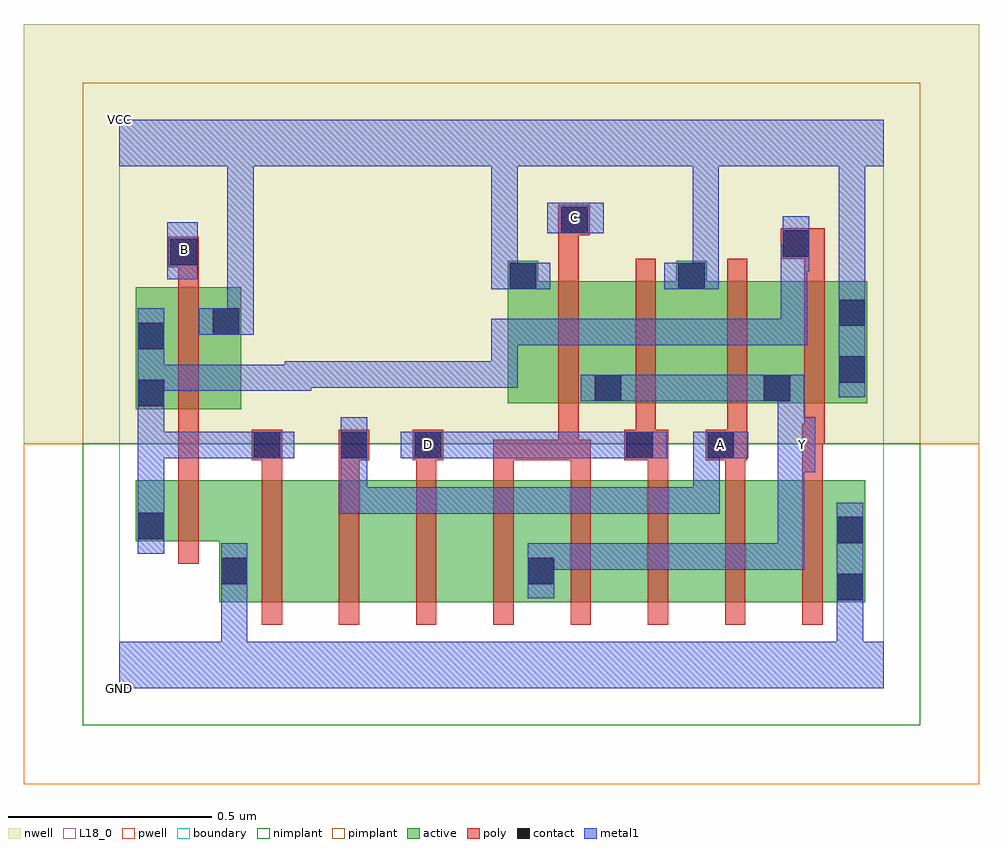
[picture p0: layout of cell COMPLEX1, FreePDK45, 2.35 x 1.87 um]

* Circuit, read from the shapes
.subckt COMPLEX1 A B C D GND VCC Y
M1 GND B n1 VSUBS nfet w=0.15u l=0.05u
M2 n2 n1 GND VSUBS nfet w=0.3u l=0.05u
M3 n3 A n2 VSUBS nfet w=0.3u l=0.05u
M4 n4 D n3 VSUBS nfet w=0.3u l=0.05u
M5 Y C n4 VSUBS nfet w=0.3u l=0.05u
M6 n5 C Y VSUBS nfet w=0.3u l=0.05u
M7 n6 D n5 VSUBS nfet w=0.3u l=0.05u
M8 n7 A n6 VSUBS nfet w=0.3u l=0.05u
M9 GND n1 n7 VSUBS nfet w=0.3u l=0.05u
M10 VCC B n1 n8 pfet w=0.3u l=0.05u
M11 Y C VCC n8 pfet w=0.3u l=0.05u
M12 VCC D Y n8 pfet w=0.3u l=0.05u
M13 Y A VCC n8 pfet w=0.3u l=0.05u
M14 VCC n1 Y n8 pfet w=0.3u l=0.05u
.ends

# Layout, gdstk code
import gdstk
lib = gdstk.Library(unit=1e-6, precision=1e-09)
def R(c, l, rs):  # rectangles x0, y0, x1, y1
    for r in rs: c.add(gdstk.rectangle(r[:2], r[2:], *l))
def A(c, l, x, y, w, h, nx, ny, dx, dy):  # array of equal rectangles
    R(c, l, [(x+i*dx, y+j*dy, x+i*dx+w, y+j*dy+h) for i in range(nx) for j in range(ny)])
active = (1, 0)
pwell = (2, 0)
nwell = (3, 0)
nimplant = (4, 0)
pimplant = (5, 0)
poly = (9, 0)
contact = (10, 0)
metal1 = (11, 0)
L18_0 = (18, 0)
boundary = (235, 0)

complex1 = lib.new_cell('COMPLEX1')
R(complex1, active, [(0.245,0.212,0.47,0.512), (0.47,0.212,0.66,0.512), (0.66,0.212,0.85,0.512), (0.85,0.212,1.075,0.512), (1,0.212,1.23,0.512), (1,0.212,1.075,0.435), (1.23,0.212,1.42,0.512), (1.42,0.212,1.61,0.512), (1.61,0.212,1.835,0.512), (1.76,0.212,1.835,0.512), (0.245,0.252,0.32,0.46), (0.04,0.362,0.32,0.512), (0.04,0.362,0.115,0.512), (0.04,0.687,0.3,0.987), (0.04,0.687,0.115,0.957), (0.225,0.687,0.3,0.957), (0.955,0.702,1.24,1.002), (1.165,0.702,1.445,1.002), (1.165,0.702,1.24,0.937), (1.37,0.702,1.655,1.002), (1.58,0.702,1.84,1.002), (1.58,0.702,1.655,0.96), (1.765,0.702,1.84,1.002), (0.955,0.72,1.03,1.052), (1.37,0.85,1.445,1.052)])
R(complex1, pwell, [(-0.235,-0.235,2.115,0.602)])
R(complex1, nwell, [(-0.235,0.602,2.115,1.635)])
R(complex1, nimplant, [(-0.09,-0.09,1.97,0.602)])
R(complex1, pimplant, [(-0.09,0.602,1.97,1.49)])
A(complex1, poly, 0.35, 0.157, 0.05, 0.41, 8, 1, 0.19, 0)
A(complex1, poly, 0.35, 0.517, 0.05, 0.095, 7, 1, 0.19, 0)
R(complex1, poly, [(0.145,0.307,0.195,0.567), (0.145,0.517,0.195,0.612), (1.68,0.517,1.73,0.652), (0.145,0.562,0.195,0.612), (0.145,0.562,0.195,0.682), (0.325,0.562,0.4,0.637), (0.54,0.562,0.615,0.637), (0.722,0.562,0.797,0.637), (0.92,0.562,1.13,0.612), (0.92,0.562,0.97,0.612), (0.92,0.562,0.97,0.612), (0.92,0.562,0.97,0.612), (1.08,0.562,1.13,0.697), (1.08,0.562,1.16,0.612), (1.242,0.562,1.35,0.637), (1.442,0.562,1.545,0.637), (1.27,0.587,1.32,0.697), (1.495,0.587,1.545,0.697), (1.68,0.602,1.735,0.652), (1.685,0.602,1.735,0.697), (0.145,0.632,0.195,1.042), (1.08,0.647,1.13,1.057), (1.27,0.647,1.32,1.057), (1.495,0.647,1.545,1.057), (1.685,0.647,1.735,1.057), (0.145,0.992,0.195,1.087), (1.08,1.007,1.13,1.165), (1.685,1.007,1.735,1.107), (0.12,1.037,0.195,1.112), (1.627,1.057,1.735,1.132), (1.08,1.115,1.157,1.19)])
R(complex1, contact, [(1.765,0.217,1.83,0.282), (0.25,0.257,0.315,0.322), (1.005,0.257,1.07,0.322), (1.765,0.357,1.83,0.422), (0.045,0.367,0.11,0.432), (0.33,0.567,0.395,0.632), (0.545,0.567,0.61,0.632), (0.727,0.567,0.792,0.632), (1.247,0.567,1.312,0.632), (1.447,0.567,1.512,0.632), (0.045,0.695,0.11,0.76), (1.17,0.707,1.235,0.772), (1.585,0.707,1.65,0.772), (1.77,0.752,1.835,0.817), (0.045,0.835,0.11,0.9), (0.23,0.87,0.295,0.935), (1.77,0.892,1.835,0.957), (0.96,0.982,1.025,1.047), (1.375,0.982,1.44,1.047), (0.125,1.042,0.19,1.107), (1.632,1.062,1.697,1.127), (1.087,1.12,1.152,1.185)])
R(complex1, metal1, [(0,0,1.88,0.115), (0.25,0.05,0.315,0.115), (0.25,0.05,0.315,0.115), (0.25,0.05,0.315,0.287), (1.765,0.05,1.83,0.247), (1.765,0.182,1.83,0.247), (1.765,0.182,1.83,0.247), (1.765,0.182,1.83,0.457), (0.25,0.222,0.315,0.357), (1.005,0.222,1.07,0.357), (1.005,0.292,1.117,0.357), (1.052,0.292,1.117,0.357), (1.052,0.292,1.255,0.357), (1.19,0.292,1.255,0.357), (1.19,0.292,1.255,0.357), (1.19,0.292,1.255,0.357), (1.19,0.292,1.477,0.357), (1.412,0.292,1.477,0.357), (1.412,0.292,1.485,0.357), (1.42,0.292,1.485,0.357), (1.42,0.292,1.685,0.357), (1.62,0.292,1.685,0.357), (1.62,0.292,1.685,0.357), (1.62,0.292,1.685,0.357), (1.62,0.292,1.685,0.597), (0.045,0.332,0.11,0.467), (0.045,0.402,0.11,0.632), (0.545,0.43,0.61,0.495), (0.545,0.43,0.747,0.495), (0.545,0.43,0.61,0.597), (0.682,0.43,0.747,0.495), (0.682,0.43,0.747,0.495), (0.682,0.43,0.747,0.495), (0.682,0.43,0.98,0.495), (0.915,0.43,0.98,0.495), (0.915,0.43,0.98,0.495), (0.915,0.43,0.98,0.495), (0.915,0.43,1.117,0.495), (1.052,0.43,1.117,0.495), (1.052,0.43,1.267,0.495), (1.202,0.43,1.267,0.495), (1.202,0.43,1.267,0.495), (1.202,0.43,1.267,0.495), (1.202,0.43,1.477,0.495), (1.412,0.43,1.477,0.495), (1.412,0.43,1.477,0.632), (0.545,0.532,0.61,0.597), (0.545,0.532,0.61,0.597), (0.545,0.532,0.61,0.667), (1.62,0.532,1.712,0.667), (0.045,0.567,0.11,0.632), (0.045,0.567,0.11,0.632), (0.045,0.567,0.11,0.632), (0.045,0.567,0.335,0.632), (0.045,0.567,0.11,0.725), (0.27,0.567,0.335,0.632), (0.27,0.567,0.36,0.632), (0.295,0.567,0.43,0.632), (0.692,0.567,0.827,0.632), (0.762,0.567,0.827,0.632), (0.762,0.567,0.827,0.632), (0.762,0.567,0.98,0.632), (0.915,0.567,0.98,0.632), (0.915,0.567,0.98,0.632), (0.915,0.567,0.98,0.632), (0.915,0.567,1.117,0.632), (1.052,0.567,1.117,0.632), (1.052,0.567,1.267,0.632), (1.202,0.567,1.267,0.632), (1.202,0.567,1.277,0.632), (1.212,0.567,1.347,0.632), (1.412,0.567,1.477,0.632), (1.412,0.567,1.477,0.632), (1.412,0.567,1.547,0.632), (1.62,0.602,1.685,0.772), (0.045,0.66,0.11,0.935), (1.135,0.707,1.27,0.772), (1.205,0.707,1.27,0.772), (1.205,0.707,1.27,0.772), (1.205,0.707,1.477,0.772), (1.412,0.707,1.477,0.772), (1.412,0.707,1.485,0.772), (1.42,0.707,1.485,0.772), (1.42,0.707,1.615,0.772), (1.55,0.707,1.685,0.772), (1.77,0.717,1.835,0.992), (0.045,0.732,0.11,0.797), (0.045,0.732,0.11,0.797), (0.045,0.732,0.33,0.797), (0.265,0.732,0.33,0.797), (0.265,0.732,0.33,0.797), (0.265,0.732,0.33,0.797), (0.265,0.732,0.472,0.797), (0.407,0.732,0.472,0.805), (0.407,0.74,0.472,0.805), (0.407,0.74,0.472,0.805), (0.407,0.74,0.61,0.805), (0.545,0.74,0.61,0.805), (0.545,0.74,0.747,0.805), (0.682,0.74,0.747,0.805), (0.682,0.74,0.747,0.805), (0.682,0.74,0.747,0.805), (0.682,0.74,0.98,0.805), (0.915,0.74,0.98,0.805), (0.915,0.74,0.98,0.805), (0.915,0.74,0.98,0.805), (0.915,0.74,0.98,0.91), (0.915,0.845,0.98,0.91), (0.915,0.845,1.117,0.91), (1.052,0.845,1.117,0.91), (1.052,0.845,1.267,0.91), (1.202,0.845,1.267,0.91), (1.202,0.845,1.267,0.91), (1.202,0.845,1.267,0.91), (1.202,0.845,1.407,0.91), (1.342,0.845,1.407,0.91), (1.342,0.845,1.515,0.91), (1.45,0.845,1.515,0.91), (1.45,0.845,1.692,0.91), (1.627,0.845,1.692,0.91), (1.627,0.845,1.692,1.092), (0.195,0.87,0.33,0.935), (0.265,0.87,0.33,0.935), (0.265,0.87,0.33,0.935), (0.265,0.87,0.33,1.35), (1.77,0.927,1.835,1.35), (1.77,0.927,1.835,0.992), (1.77,0.927,1.835,0.992), (0.915,0.982,0.98,1.047), (0.915,0.982,0.98,1.047), (0.915,0.982,0.98,1.35), (0.915,0.982,1.06,1.047), (1.34,0.982,1.475,1.047), (1.41,0.982,1.475,1.35), (0.117,1.007,0.192,1.147), (1.627,1.027,1.692,1.092), (1.627,1.027,1.692,1.092), (1.627,1.027,1.692,1.092), (1.627,1.027,1.697,1.092), (1.632,1.027,1.697,1.162), (1.052,1.12,1.192,1.195), (0,1.285,1.88,1.4), (0.265,1.285,0.33,1.35), (0.265,1.285,0.33,1.35), (0.915,1.285,0.98,1.35), (0.915,1.285,0.98,1.35), (1.41,1.285,1.475,1.35), (1.41,1.285,1.475,1.35), (1.41,1.285,1.475,1.35), (1.41,1.285,1.475,1.35), (1.77,1.285,1.835,1.35), (1.77,1.285,1.835,1.35)])
R(complex1, L18_0, [(0,0,1.88,0.115), (0.25,0.05,0.315,0.115), (0.25,0.05,0.315,0.115), (0.25,0.05,0.315,0.287), (1.765,0.05,1.83,0.247), (1.765,0.182,1.83,0.247), (1.765,0.182,1.83,0.247), (1.765,0.182,1.83,0.457), (0.25,0.222,0.315,0.357), (1.005,0.222,1.07,0.357), (1.005,0.292,1.117,0.357), (1.052,0.292,1.117,0.357), (1.052,0.292,1.255,0.357), (1.19,0.292,1.255,0.357), (1.19,0.292,1.255,0.357), (1.19,0.292,1.255,0.357), (1.19,0.292,1.477,0.357), (1.412,0.292,1.477,0.357), (1.412,0.292,1.485,0.357), (1.42,0.292,1.485,0.357), (1.42,0.292,1.685,0.357), (1.62,0.292,1.685,0.357), (1.62,0.292,1.685,0.357), (1.62,0.292,1.685,0.357), (1.62,0.292,1.685,0.597), (0.545,0.43,0.61,0.495), (0.545,0.43,0.61,0.597), (0.545,0.43,0.747,0.495), (0.682,0.43,0.747,0.495), (0.682,0.43,0.747,0.495), (0.682,0.43,0.747,0.495), (0.682,0.43,0.98,0.495), (0.915,0.43,0.98,0.495), (0.915,0.43,0.98,0.495), (0.915,0.43,0.98,0.495), (0.915,0.43,1.117,0.495), (1.052,0.43,1.117,0.495), (1.052,0.43,1.267,0.495), (1.202,0.43,1.267,0.495), (1.202,0.43,1.267,0.495), (1.202,0.43,1.267,0.495), (1.202,0.43,1.477,0.495), (1.412,0.43,1.477,0.495), (1.412,0.43,1.477,0.632), (0.545,0.532,0.61,0.597), (0.545,0.532,0.61,0.597), (0.545,0.532,0.61,0.667), (1.62,0.532,1.712,0.667), (0.692,0.567,0.827,0.632), (0.727,0.567,0.792,0.632), (0.762,0.567,0.827,0.632), (0.762,0.567,0.827,0.632), (0.762,0.567,0.98,0.632), (0.915,0.567,0.98,0.632), (0.915,0.567,0.98,0.632), (0.915,0.567,0.98,0.632), (0.915,0.567,1.117,0.632), (1.052,0.567,1.117,0.632), (1.052,0.567,1.267,0.632), (1.202,0.567,1.267,0.632), (1.202,0.567,1.277,0.632), (1.212,0.567,1.347,0.632), (1.412,0.567,1.477,0.632), (1.412,0.567,1.477,0.632), (1.412,0.567,1.547,0.632), (1.447,0.567,1.512,0.632), (1.647,0.567,1.712,0.632), (1.62,0.602,1.685,0.772), (1.135,0.707,1.27,0.772), (1.205,0.707,1.27,0.772), (1.205,0.707,1.27,0.772), (1.205,0.707,1.477,0.772), (1.412,0.707,1.477,0.772), (1.412,0.707,1.485,0.772), (1.42,0.707,1.485,0.772), (1.42,0.707,1.615,0.772), (1.55,0.707,1.685,0.772), (1.77,0.717,1.835,0.992), (0.195,0.87,0.33,0.935), (0.265,0.87,0.33,0.935), (0.265,0.87,0.33,0.935), (0.265,0.87,0.33,1.35), (1.77,0.927,1.835,0.992), (1.77,0.927,1.835,0.992), (1.77,0.927,1.835,1.35), (0.915,0.982,0.98,1.047), (0.915,0.982,0.98,1.047), (0.915,0.982,1.06,1.047), (0.915,0.982,0.98,1.35), (1.34,0.982,1.475,1.047), (1.41,0.982,1.475,1.35), (0.117,1.007,0.192,1.147), (0.127,1.047,0.192,1.112), (1.052,1.12,1.192,1.195), (1.087,1.127,1.152,1.192), (0,1.285,1.88,1.4), (0.265,1.285,0.33,1.35), (0.265,1.285,0.33,1.35), (0.915,1.285,0.98,1.35), (0.915,1.285,0.98,1.35), (1.41,1.285,1.475,1.35), (1.41,1.285,1.475,1.35), (1.41,1.285,1.475,1.35), (1.41,1.285,1.475,1.35), (1.77,1.285,1.835,1.35), (1.77,1.285,1.835,1.35)])
R(complex1, boundary, [(0,0,1.88,1.4)])
complex1.add(gdstk.Label('A', (1.48,0.6), layer=11, texttype=0))
complex1.add(gdstk.Label('B', (0.16,1.08), layer=11, texttype=0))
complex1.add(gdstk.Label('C', (1.12,1.16), layer=11, texttype=0))
complex1.add(gdstk.Label('D', (0.76,0.6), layer=11, texttype=0))
complex1.add(gdstk.Label('Y', (1.68,0.6), layer=11, texttype=0))
complex1.add(gdstk.Label('VCC', (0,1.4), layer=11, texttype=0))
complex1.add(gdstk.Label('GND', (0,0), layer=11, texttype=0))

lib.write_gds('COMPLEX1.gds')
